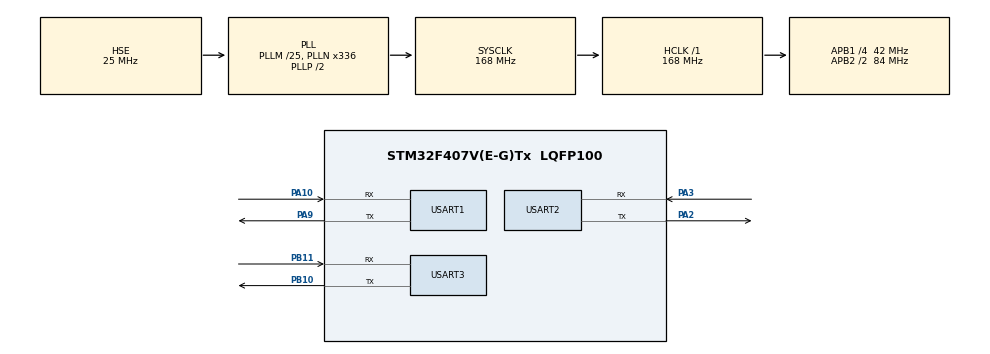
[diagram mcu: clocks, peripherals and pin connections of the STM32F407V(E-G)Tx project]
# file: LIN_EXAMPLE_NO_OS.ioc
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Dma.Request0=USART3_RX
Dma.USART3_RX.0.Direction=DMA_PERIPH_TO_MEMORY
Dma.USART3_RX.0.FIFOMode=DMA_FIFOMODE_DISABLE
Dma.USART3_RX.0.Instance=DMA1_Stream1
Dma.USART3_RX.0.MemDataAlignment=DMA_MDATAALIGN_BYTE
Dma.USART3_RX.0.MemInc=DMA_MINC_ENABLE
Dma.USART3_RX.0.Mode=DMA_NORMAL
Dma.USART3_RX.0.PeriphDataAlignment=DMA_PDATAALIGN_BYTE
Dma.USART3_RX.0.PeriphInc=DMA_PINC_DISABLE
Dma.USART3_RX.0.Priority=DMA_PRIORITY_LOW
Mcu.Family=STM32F4
Mcu.Name=STM32F407V(E-G)Tx
Mcu.Package=LQFP100
NVIC.DMA1_Stream1_IRQn=true\:0\:0\:false\:false\:true\:false\:true\:true
NVIC.PriorityGroup=NVIC_PRIORITYGROUP_4
PA10.Mode=Asynchronous
PA10.Signal=USART1_RX
PA2.Mode=LIN
PA2.Signal=USART2_TX
PA3.Mode=LIN
PA3.Signal=USART2_RX
PA9.Mode=Asynchronous
PA9.Signal=USART1_TX
PB10.Mode=LIN
PB10.Signal=USART3_TX
PB11.Mode=LIN
PB11.Signal=USART3_RX
PH0-OSC_IN.Mode=HSE-External-Oscillator
PH0-OSC_IN.Signal=RCC_OSC_IN
PH1-OSC_OUT.Mode=HSE-External-Oscillator
PH1-OSC_OUT.Signal=RCC_OSC_OUT
ProjectManager.HeapSize=0x200
ProjectManager.StackSize=0x400
ProjectManager.TargetToolchain=STM32CubeIDE
RCC.48MHZClocksFreq_Value=84000000
RCC.AHBFreq_Value=168000000
RCC.APB1CLKDivider=RCC_HCLK_DIV4
RCC.APB1Freq_Value=42000000
RCC.APB1TimFreq_Value=84000000
RCC.APB2CLKDivider=RCC_HCLK_DIV2
RCC.APB2Freq_Value=84000000
RCC.APB2TimFreq_Value=168000000
RCC.CortexFreq_Value=168000000
RCC.HCLKFreq_Value=168000000
RCC.HSE_VALUE=25000000
RCC.HSI_VALUE=16000000
RCC.LSE_VALUE=32768
RCC.PLLM=25
RCC.PLLN=336
RCC.PLLSourceVirtual=RCC_PLLSOURCE_HSE
RCC.SYSCLKFreq_VALUE=168000000
RCC.SYSCLKSource=RCC_SYSCLKSOURCE_PLLCLK
RCC.VCOOutputFreq_Value=336000000
USART1.VirtualMode=VM_ASYNC
USART2.VirtualMode=VM_ASYNC
USART3.VirtualMode=VM_ASYNC
board=custom

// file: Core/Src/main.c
/* USER CODE BEGIN Header */
/**
  ******************************************************************************
  * @file           : main.c
  * @brief          : Main program body
  ******************************************************************************
  * @attention
  *
  * Copyright (c) 2025 STMicroelectronics.
  * All rights reserved.
  *
  * This software is licensed under terms that can be found in the LICENSE file
  * in the root directory of this software component.
  * If no LICENSE file comes with this software, it is provided AS-IS.
  *
  ******************************************************************************
  */
/* USER CODE END Header */
#include "main.h"

/* USER CODE BEGIN Includes */
#include "string.h"
#include "stdlib.h"

/* USER CODE END Includes */

UART_HandleTypeDef huart1;
UART_HandleTypeDef huart2;
UART_HandleTypeDef huart3;
DMA_HandleTypeDef hdma_usart3_rx;

/* USER CODE BEGIN PV */

uint8_t slave_buffer_data[11];
uint8_t write_data_clpt = 0;

/* USER CODE END PV */

void SystemClock_Config(void);
static void MX_GPIO_Init(void);
static void MX_DMA_Init(void);
static void MX_USART1_UART_Init(void);
static void MX_USART2_UART_Init(void);
static void MX_USART3_UART_Init(void);
/* USER CODE BEGIN PFP */
uint8_t pid_calc(uint8_t pid); //calculate pid based on LIN standard
uint8_t checksum_calc(uint8_t pid , uint8_t *data); //we only send 8 bytes of data and calculate enhanced checksum!

/* USER CODE END PFP */

int main(void)
{

  /* MCU Configuration--------------------------------------------------------*/

  /* Reset of all peripherals, Initializes the Flash interface and the Systick. */
  HAL_Init();

  /* Configure the system clock */
  SystemClock_Config();

  /* Initialize all configured peripherals */
  MX_GPIO_Init();
  MX_DMA_Init();
  MX_USART1_UART_Init();
  MX_USART2_UART_Init();
  MX_USART3_UART_Init();
  /* USER CODE BEGIN 2 */
  HAL_UART_Receive_DMA(&huart3, (uint8_t *) slave_buffer_data, 11);

  /* USER CODE END 2 */

  /* Infinite loop */
  /* USER CODE BEGIN WHILE */
  while (1)
  {
      uint8_t data_to_send [11];

      data_to_send[0] = 0x55;

      data_to_send [1]= pid_calc(0x25); //note: since pid is 6 bits long, value must be between 0 to 63!

      for (int i=0; i<8; i++)  //8 bytes of data
     	  {
    	  data_to_send[i+2] = i;  //fill data with value of i, we start data after pid
     	  }

      data_to_send[10] = checksum_calc(data_to_send [1], data_to_send +2); //calculate checksum with PID

      //note: since data starts from array index of 2, we have add 2 to the based address of array

      HAL_LIN_SendBreak(&huart2);

	  HAL_UART_Transmit(&huart2, data_to_send, 11, HAL_MAX_DELAY);
	  HAL_Delay(1000);
    /* USER CODE END WHILE */

  }
}

void SystemClock_Config(void)
{
  RCC_OscInitTypeDef RCC_OscInitStruct = {0};
  RCC_ClkInitTypeDef RCC_ClkInitStruct = {0};

  /** Configure the main internal regulator output voltage
  */
  __HAL_RCC_PWR_CLK_ENABLE();
  __HAL_PWR_VOLTAGESCALING_CONFIG(PWR_REGULATOR_VOLTAGE_SCALE1);

  /** Initializes the RCC Oscillators according to the specified parameters
  * in the RCC_OscInitTypeDef structure.
  */
  RCC_OscInitStruct.OscillatorType = RCC_OSCILLATORTYPE_HSE;
  RCC_OscInitStruct.HSEState = RCC_HSE_ON;
  RCC_OscInitStruct.PLL.PLLState = RCC_PLL_ON;
  RCC_OscInitStruct.PLL.PLLSource = RCC_PLLSOURCE_HSE;
  RCC_OscInitStruct.PLL.PLLM = 25;
  RCC_OscInitStruct.PLL.PLLN = 336;
  RCC_OscInitStruct.PLL.PLLP = RCC_PLLP_DIV2;
  RCC_OscInitStruct.PLL.PLLQ = 4;
  if (HAL_RCC_OscConfig(&RCC_OscInitStruct) != HAL_OK)
  {
    Error_Handler();
  }

  /** Initializes the CPU, AHB and APB buses clocks
  */
  RCC_ClkInitStruct.ClockType = RCC_CLOCKTYPE_HCLK|RCC_CLOCKTYPE_SYSCLK
                              |RCC_CLOCKTYPE_PCLK1|RCC_CLOCKTYPE_PCLK2;
  RCC_ClkInitStruct.SYSCLKSource = RCC_SYSCLKSOURCE_PLLCLK;
  RCC_ClkInitStruct.AHBCLKDivider = RCC_SYSCLK_DIV1;
  RCC_ClkInitStruct.APB1CLKDivider = RCC_HCLK_DIV4;
  RCC_ClkInitStruct.APB2CLKDivider = RCC_HCLK_DIV2;

  if (HAL_RCC_ClockConfig(&RCC_ClkInitStruct, FLASH_LATENCY_5) != HAL_OK)
  {
    Error_Handler();
  }
}

static void MX_USART1_UART_Init(void)
{

  huart1.Instance = USART1;
  huart1.Init.BaudRate = 115200;
  huart1.Init.WordLength = UART_WORDLENGTH_8B;
  huart1.Init.StopBits = UART_STOPBITS_1;
  huart1.Init.Parity = UART_PARITY_NONE;
  huart1.Init.Mode = UART_MODE_TX_RX;
  huart1.Init.HwFlowCtl = UART_HWCONTROL_NONE;
  huart1.Init.OverSampling = UART_OVERSAMPLING_16;
  if (HAL_UART_Init(&huart1) != HAL_OK)
  {
    Error_Handler();
  }

}

static void MX_USART2_UART_Init(void)
{

  huart2.Instance = USART2;
  huart2.Init.BaudRate = 115200;
  huart2.Init.WordLength = UART_WORDLENGTH_8B;
  huart2.Init.StopBits = UART_STOPBITS_1;
  huart2.Init.Parity = UART_PARITY_NONE;
  huart2.Init.Mode = UART_MODE_TX_RX;
  huart2.Init.HwFlowCtl = UART_HWCONTROL_NONE;
  huart2.Init.OverSampling = UART_OVERSAMPLING_16;
  if (HAL_LIN_Init(&huart2, UART_LINBREAKDETECTLENGTH_10B) != HAL_OK)
  {
    Error_Handler();
  }

}

static void MX_USART3_UART_Init(void)
{

  huart3.Instance = USART3;
  huart3.Init.BaudRate = 115200;
  huart3.Init.WordLength = UART_WORDLENGTH_8B;
  huart3.Init.StopBits = UART_STOPBITS_1;
  huart3.Init.Parity = UART_PARITY_NONE;
  huart3.Init.Mode = UART_MODE_TX_RX;
  huart3.Init.HwFlowCtl = UART_HWCONTROL_NONE;
  huart3.Init.OverSampling = UART_OVERSAMPLING_16;
  if (HAL_LIN_Init(&huart3, UART_LINBREAKDETECTLENGTH_10B) != HAL_OK)
  {
    Error_Handler();
  }

}

static void MX_DMA_Init(void)
{

  /* DMA controller clock enable */
  __HAL_RCC_DMA1_CLK_ENABLE();

  /* DMA interrupt init */
  /* DMA1_Stream1_IRQn interrupt configuration */
  HAL_NVIC_SetPriority(DMA1_Stream1_IRQn, 0, 0);
  HAL_NVIC_EnableIRQ(DMA1_Stream1_IRQn);

}

static void MX_GPIO_Init(void)
{

  /* GPIO Ports Clock Enable */
  __HAL_RCC_GPIOH_CLK_ENABLE();
  __HAL_RCC_GPIOA_CLK_ENABLE();
  __HAL_RCC_GPIOB_CLK_ENABLE();

}

/* USER CODE BEGIN 4 */

uint8_t pid_calc(uint8_t pid) //add parity to the number
{
	  //only 6bits accepted as PID
	 uint8_t pid_bits_array[6];
	 uint8_t calculated_pid =0;
	 for(int i=0; i<6; i++){
		 pid_bits_array[i] = (pid>>i)&0x01; //access to all bits
	 }

	 uint8_t p0 = (pid_bits_array[0] ^ pid_bits_array[0]^ pid_bits_array[0] ^ pid_bits_array[0]) & 0x01; //even parity
	 uint8_t p1 = (pid_bits_array[1] ^ pid_bits_array[3]^ pid_bits_array[4] ^ pid_bits_array[5]) & 0x01; //odd pariry

	 calculated_pid = pid | (p0<<6) | (p1<<7);  //add even and odd pariry to the number

	 return calculated_pid;

}

uint8_t checksum_calc(uint8_t pid , uint8_t *data){ //we only send 8 bytes of data and calculate enhanced checksum!

	//how does enhanced checksum calculate? sum of all bytes of data first calculate, then we sum the result with PID
	//then we invert all of bits of result
	uint8_t check_sum_buffer[10];
	int result = 0;
	for(int i=0; i<8; i++){
		result = result + data[i];
		if(result >0XFF) //if we get number that is bigger than 8 bits
		 result = result - 0XFF;
	}

	result = result + pid;

	if(result >0XFF) //if we get number that is bigger than 8 bits
	result = result - 0XFF;

	result = 0XFF - result; //invert all of bits

	return result;

}

void HAL_UART_RxCpltCallback(UART_HandleTypeDef *huart){

	//HAL_UART_Transmit(&huart1, (uint8_t *)slave_buffer_data, 11, HAL_MAX_DELAY);

	uint8_t check_sum_sent = (slave_buffer_data[10]);
	char data_to_show[5]= {0};

	if(check_sum_sent == checksum_calc(slave_buffer_data[1], slave_buffer_data+2))
	{ //if data is healthy
		HAL_UART_Transmit(&huart1, (uint8_t *)"DATA IS VALID: ", 15, HAL_MAX_DELAY);
		for(int i=0; i<8; i++){
	    itoa(slave_buffer_data[i+2] , data_to_show , 16);
	    HAL_UART_Transmit(&huart1, (uint8_t *)data_to_show, 5, HAL_MAX_DELAY);
	    if(i<7)
	    HAL_UART_Transmit(&huart1, (uint8_t *)",", 1, HAL_MAX_DELAY);
		}
		HAL_UART_Transmit(&huart1, (uint8_t *)"\n", 1, HAL_MAX_DELAY);

	}

	HAL_UART_Receive_DMA(&huart3, (uint8_t *) slave_buffer_data, 11);

}

/* USER CODE END 4 */

void Error_Handler(void)
{
  __disable_irq();
  while (1)
  {
  }
}
